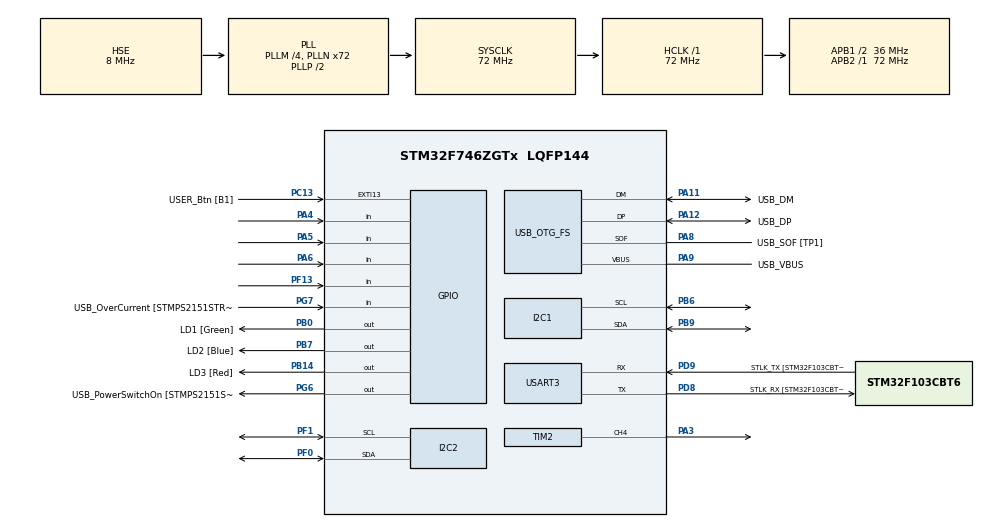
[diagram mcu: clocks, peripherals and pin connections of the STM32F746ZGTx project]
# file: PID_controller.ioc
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I2C1.Timing=0x00808CD2
I2C2.Timing=0x00808CD2
Mcu.Family=STM32F7
Mcu.Name=STM32F746ZGTx
Mcu.Package=LQFP144
NVIC.PriorityGroup=NVIC_PRIORITYGROUP_4
NVIC.TIM3_IRQn=true\:0\:0\:false\:false\:true\:true\:true\:true
NVIC.USART3_IRQn=true\:0\:0\:false\:false\:true\:true\:true\:true
PA1.GPIO_Label=RMII_REF_CLK [LAN8742A-CZ-TR_REFCLK0]
PA1.Signal=ETH_REF_CLK
PA10.GPIO_Label=USB_ID
PA10.Signal=USB_OTG_FS_ID
PA11.GPIO_Label=USB_DM
PA11.Mode=Device_Only
PA11.Signal=USB_OTG_FS_DM
PA12.GPIO_Label=USB_DP
PA12.Mode=Device_Only
PA12.Signal=USB_OTG_FS_DP
PA13.GPIO_Label=TMS
PA13.Mode=Serial_Wire
PA13.Signal=SYS_JTMS-SWDIO
PA14.GPIO_Label=TCK
PA14.Mode=Serial_Wire
PA14.Signal=SYS_JTCK-SWCLK
PA2.GPIO_Label=RMII_MDIO [LAN8742A-CZ-TR_MDIO]
PA2.Signal=ETH_MDIO
PA3.Signal=S_TIM2_CH4
PA4.Signal=GPIO_Input
PA5.Signal=GPIO_Input
PA6.Signal=GPIO_Input
PA7.GPIO_Label=RMII_CRS_DV [LAN8742A-CZ-TR_CRS_DV]
PA7.Signal=ETH_CRS_DV
PA8.GPIO_Label=USB_SOF [TP1]
PA8.Mode=Activate_SOF_FS
PA8.Signal=USB_OTG_FS_SOF
PA9.GPIO_Label=USB_VBUS
PA9.Mode=Activate_VBUS
PA9.Signal=USB_OTG_FS_VBUS
PB0.GPIO_Label=LD1 [Green]
PB0.Signal=GPIO_Output
PB13.GPIO_Label=RMII_TXD1 [LAN8742A-CZ-TR_TXD1]
PB13.Signal=ETH_TXD1
PB14.GPIO_Label=LD3 [Red]
PB14.Signal=GPIO_Output
PB3.GPIO_Label=SW0
PB3.Signal=SYS_JTDO-SWO
PB6.Mode=I2C
PB6.Signal=I2C1_SCL
PB7.GPIO_Label=LD2 [Blue]
PB7.Signal=GPIO_Output
PB9.Mode=I2C
PB9.Signal=I2C1_SDA
PC1.GPIO_Label=RMII_MDC [LAN8742A-CZ-TR_MDC]
PC1.Signal=ETH_MDC
PC13.GPIO_Label=USER_Btn [B1]
PC13.Signal=GPXTI13
PC14/OSC32_IN.Mode=LSE-External-Oscillator
PC14/OSC32_IN.Signal=RCC_OSC32_IN
PC15/OSC32_OUT.Mode=LSE-External-Oscillator
PC15/OSC32_OUT.Signal=RCC_OSC32_OUT
PC4.GPIO_Label=RMII_RXD0 [LAN8742A-CZ-TR_RXD0]
PC4.Signal=ETH_RXD0
PC5.GPIO_Label=RMII_RXD1 [LAN8742A-CZ-TR_RXD1]
PC5.Signal=ETH_RXD1
PD8.GPIO_Label=STLK_RX [STM32F103CBT6_PA3]
PD8.GPIO_PuPd=GPIO_PULLUP
PD8.Mode=Asynchronous
PD8.Signal=USART3_TX
PD9.GPIO_Label=STLK_TX [STM32F103CBT6_PA2]
PD9.GPIO_PuPd=GPIO_PULLUP
PD9.Mode=Asynchronous
PD9.Signal=USART3_RX
PF0.Mode=I2C
PF0.Signal=I2C2_SDA
PF1.Mode=I2C
PF1.Signal=I2C2_SCL
PF13.Signal=GPIO_Input
PG11.GPIO_Label=RMII_TX_EN [LAN8742A-CZ-TR_TXEN]
PG11.Signal=ETH_TX_EN
PG13.GPIO_Label=RMII_TXD0 [LAN8742A-CZ-TR_TXD0]
PG13.Signal=ETH_TXD0
PG6.GPIO_Label=USB_PowerSwitchOn [STMPS2151STR_EN]
PG6.Signal=GPIO_Output
PG7.GPIO_Label=USB_OverCurrent [STMPS2151STR_FAULT]
PG7.Signal=GPIO_Input
PH0/OSC_IN.GPIO_Label=MCO [STM32F103CBT6_PA8]
PH0/OSC_IN.Mode=HSE-External-Clock-Source
PH0/OSC_IN.Signal=RCC_OSC_IN
PH1/OSC_OUT.Mode=HSE-External-Clock-Source
PH1/OSC_OUT.Signal=RCC_OSC_OUT
ProjectManager.HeapSize=0x200
ProjectManager.StackSize=0x400
ProjectManager.TargetToolchain=STM32CubeIDE
RCC.48MHZClocksFreq_Value=24000000
RCC.AHBFreq_Value=72000000
RCC.APB1CLKDivider=RCC_HCLK_DIV2
RCC.APB1Freq_Value=36000000
RCC.APB1TimFreq_Value=72000000
RCC.APB2Freq_Value=72000000
RCC.APB2TimFreq_Value=72000000
RCC.CortexFreq_Value=72000000
RCC.HCLKFreq_Value=72000000
RCC.HSE_VALUE=8000000
RCC.HSI_VALUE=16000000
RCC.PLLM=4
RCC.PLLMUL=RCC_PLL_MUL9
RCC.PLLN=72
RCC.PLLQ=3
RCC.PRESCALERUSB=RCC_USBCLKSOURCE_PLL_DIV1_5
RCC.SYSCLKFreq_VALUE=72000000
RCC.SYSCLKSource=RCC_SYSCLKSOURCE_PLLCLK
RCC.SYSCLKSourceVirtual=RCC_SYSCLKSOURCE_PLLCLK
RCC.USBFreq_Value=48000000
RCC.VCOOutputFreq_Value=144000000
SH.S_TIM2_CH4.0=TIM2_CH4,PWM Generation4 CH4
TIM2.AutoReloadPreload=TIM_AUTORELOAD_PRELOAD_ENABLE
TIM2.Channel-PWM\ Generation4\ CH4=TIM_CHANNEL_4
TIM2.Period=999
TIM2.Prescaler=71
TIM3.Period=20000
TIM3.Prescaler=3600
USART3.VirtualMode-Asynchronous=VM_ASYNC
USB_OTG_FS.VirtualMode=Device_Only
VP_TIM2_VS_ClockSourceINT.Mode=Internal
VP_TIM3_VS_ClockSourceINT.Mode=Internal
board=NUCLEO-F746ZG

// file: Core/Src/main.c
/* USER CODE BEGIN Header */
/**
  ******************************************************************************
  * @file           : main.c
  * @brief          : Main program body
  ******************************************************************************
  * @attention
  *
  * Copyright (c) 2024 STMicroelectronics.
  * All rights reserved.
  *
  * This software is licensed under terms that can be found in the LICENSE file
  * in the root directory of this software component.
  * If no LICENSE file comes with this software, it is provided AS-IS.
  *
  ******************************************************************************
  */
/* USER CODE END Header */
#include "main.h"

/* USER CODE BEGIN Includes */
#include "BMPXX80.h"
#include "i2c-lcd.h"
#include "stdio.h"
#include "string.h"

/* USER CODE END Includes */

/* USER CODE BEGIN PTD */
typedef float float32_t;

typedef struct{
	float32_t Kp;
	float32_t Ki;
	float32_t Kd;
	float32_t dt;
}pid_parameters_t;

typedef struct{
	pid_parameters_t p;
	float32_t prev_error, prev_int;
}pid_t;
/* USER CODE END PTD */

I2C_HandleTypeDef hi2c1;
I2C_HandleTypeDef hi2c2;

TIM_HandleTypeDef htim2;
TIM_HandleTypeDef htim3;

UART_HandleTypeDef huart3;

PCD_HandleTypeDef hpcd_USB_OTG_FS;

/* USER CODE BEGIN PV */
float temperatura_czujnik;
float set_point = 23.0;
char lcd_buffer_temp[16];
char lcd_buffer_set_point[16];
char pomiar[16];
float duty;
int set_point_allow = 0;
int prevState = GPIO_PIN_RESET;
uint8_t Received;

/* USER CODE END PV */

void SystemClock_Config(void);
static void MX_GPIO_Init(void);
static void MX_USART3_UART_Init(void);
static void MX_USB_OTG_FS_PCD_Init(void);
static void MX_I2C1_Init(void);
static void MX_TIM2_Init(void);
static void MX_TIM3_Init(void);
static void MX_I2C2_Init(void);

/* USER CODE BEGIN 0 */
float32_t calc_discrete_pid(pid_t* pid, float32_t setpoint, float32_t measured){
	float32_t u=0, P, I, D, error, integral, derivative;

	error = setpoint - measured;

	P = pid->p.Kp * error;

	integral = pid->prev_int + (error+pid->prev_error);
	pid->prev_int = integral;
	I = pid->p.Ki * integral * (pid->p.dt/2.0);

	derivative = (error - pid->prev_error)/pid->p.dt;
	pid->prev_error = error;
	D = pid->p.Kd * derivative;

	u = P + I + D;

	HAL_GPIO_TogglePin(LD3_GPIO_Port, LD1_Pin);
	return u;
}

void Enkoder_temperatura(){

	int curState = HAL_GPIO_ReadPin(USER_Btn_GPIO_Port, USER_Btn_Pin);
	if (curState == GPIO_PIN_SET && prevState == GPIO_PIN_RESET)
	{
		set_point_allow = !set_point_allow;
	}
	prevState = curState;

	if (set_point_allow == 1){

		  if (HAL_GPIO_ReadPin(GPIOA, GPIO_PIN_5) == GPIO_PIN_RESET)
		  {
			  if (HAL_GPIO_ReadPin(GPIOA, GPIO_PIN_6) == GPIO_PIN_RESET)
			  {
				  while (HAL_GPIO_ReadPin(GPIOA, GPIO_PIN_6) == GPIO_PIN_RESET){};
				  set_point = set_point - 0.1;
				  while (HAL_GPIO_ReadPin(GPIOA, GPIO_PIN_5) == GPIO_PIN_RESET){};
				  HAL_Delay(10);
			  }

			  else if (HAL_GPIO_ReadPin(GPIOA, GPIO_PIN_6) == GPIO_PIN_SET)
			  {
				  while (HAL_GPIO_ReadPin(GPIOA, GPIO_PIN_6) == GPIO_PIN_SET){};
				  set_point = set_point + 0.1;
				  while (HAL_GPIO_ReadPin(GPIOA, GPIO_PIN_5) == GPIO_PIN_RESET){};
				  while (HAL_GPIO_ReadPin(GPIOA, GPIO_PIN_6) == GPIO_PIN_RESET){};
				  HAL_Delay(10);
			  }

			  if(set_point < 22) set_point = 22;
			  if(set_point > 35) set_point = 35;
		  }
	}
}

void LCD_print(){

	sprintf(lcd_buffer_temp, "TempSens: %.2f", temperatura_czujnik);
	sprintf(lcd_buffer_set_point, "TempSet: %.2f", set_point);
	lcd_clear();
	lcd_put_cur(0, 0);
	lcd_send_string(lcd_buffer_temp);
	lcd_put_cur(1, 0);
	lcd_send_string(lcd_buffer_set_point);

}

pid_t pid = {.p.Kp = 0.5, .p.Ki = 0.0005, .p.Kd = 0.0, .p.dt=1.0 , .prev_error = 0, .prev_int = 0};
/* USER CODE END 0 */

int main(void)
{

  /* MCU Configuration--------------------------------------------------------*/

  /* Reset of all peripherals, Initializes the Flash interface and the Systick. */
  HAL_Init();

  /* Configure the system clock */
  SystemClock_Config();

  /* Initialize all configured peripherals */
  MX_GPIO_Init();
  MX_USART3_UART_Init();
  MX_USB_OTG_FS_PCD_Init();
  MX_I2C1_Init();
  MX_TIM2_Init();
  MX_TIM3_Init();
  MX_I2C2_Init();
  /* USER CODE BEGIN 2 */
  BMP280_Init(&hi2c1, BMP280_TEMPERATURE_16BIT, BMP280_STANDARD, BMP280_FORCEDMODE);
  HAL_TIM_PWM_Start(&htim2, TIM_CHANNEL_4);
  HAL_TIM_Base_Start_IT(&htim3);
  HAL_UART_Receive_IT(&huart3, &Received, 2);
  lcd_init();
  /* USER CODE END 2 */

  /* Infinite loop */
  while (1)
  {

    /* USER CODE BEGIN 3 */
	Enkoder_temperatura();

  }
  /* USER CODE END 3 */
}

void SystemClock_Config(void)
{
  RCC_OscInitTypeDef RCC_OscInitStruct = {0};
  RCC_ClkInitTypeDef RCC_ClkInitStruct = {0};

  /** Configure LSE Drive Capability
  */
  HAL_PWR_EnableBkUpAccess();

  /** Configure the main internal regulator output voltage
  */
  __HAL_RCC_PWR_CLK_ENABLE();
  __HAL_PWR_VOLTAGESCALING_CONFIG(PWR_REGULATOR_VOLTAGE_SCALE3);

  /** Initializes the RCC Oscillators according to the specified parameters
  * in the RCC_OscInitTypeDef structure.
  */
  RCC_OscInitStruct.OscillatorType = RCC_OSCILLATORTYPE_HSE;
  RCC_OscInitStruct.HSEState = RCC_HSE_BYPASS;
  RCC_OscInitStruct.PLL.PLLState = RCC_PLL_ON;
  RCC_OscInitStruct.PLL.PLLSource = RCC_PLLSOURCE_HSE;
  RCC_OscInitStruct.PLL.PLLM = 4;
  RCC_OscInitStruct.PLL.PLLN = 72;
  RCC_OscInitStruct.PLL.PLLP = RCC_PLLP_DIV2;
  RCC_OscInitStruct.PLL.PLLQ = 3;
  if (HAL_RCC_OscConfig(&RCC_OscInitStruct) != HAL_OK)
  {
    Error_Handler();
  }

  /** Initializes the CPU, AHB and APB buses clocks
  */
  RCC_ClkInitStruct.ClockType = RCC_CLOCKTYPE_HCLK|RCC_CLOCKTYPE_SYSCLK
                              |RCC_CLOCKTYPE_PCLK1|RCC_CLOCKTYPE_PCLK2;
  RCC_ClkInitStruct.SYSCLKSource = RCC_SYSCLKSOURCE_PLLCLK;
  RCC_ClkInitStruct.AHBCLKDivider = RCC_SYSCLK_DIV1;
  RCC_ClkInitStruct.APB1CLKDivider = RCC_HCLK_DIV2;
  RCC_ClkInitStruct.APB2CLKDivider = RCC_HCLK_DIV1;

  if (HAL_RCC_ClockConfig(&RCC_ClkInitStruct, FLASH_LATENCY_2) != HAL_OK)
  {
    Error_Handler();
  }
}

static void MX_I2C1_Init(void)
{

  hi2c1.Instance = I2C1;
  hi2c1.Init.Timing = 0x00808CD2;
  hi2c1.Init.OwnAddress1 = 0;
  hi2c1.Init.AddressingMode = I2C_ADDRESSINGMODE_7BIT;
  hi2c1.Init.DualAddressMode = I2C_DUALADDRESS_DISABLE;
  hi2c1.Init.OwnAddress2 = 0;
  hi2c1.Init.OwnAddress2Masks = I2C_OA2_NOMASK;
  hi2c1.Init.GeneralCallMode = I2C_GENERALCALL_DISABLE;
  hi2c1.Init.NoStretchMode = I2C_NOSTRETCH_DISABLE;
  if (HAL_I2C_Init(&hi2c1) != HAL_OK)
  {
    Error_Handler();
  }

  /** Configure Analogue filter
  */
  if (HAL_I2CEx_ConfigAnalogFilter(&hi2c1, I2C_ANALOGFILTER_ENABLE) != HAL_OK)
  {
    Error_Handler();
  }

  /** Configure Digital filter
  */
  if (HAL_I2CEx_ConfigDigitalFilter(&hi2c1, 0) != HAL_OK)
  {
    Error_Handler();
  }

}

static void MX_I2C2_Init(void)
{

  hi2c2.Instance = I2C2;
  hi2c2.Init.Timing = 0x00808CD2;
  hi2c2.Init.OwnAddress1 = 0;
  hi2c2.Init.AddressingMode = I2C_ADDRESSINGMODE_7BIT;
  hi2c2.Init.DualAddressMode = I2C_DUALADDRESS_DISABLE;
  hi2c2.Init.OwnAddress2 = 0;
  hi2c2.Init.OwnAddress2Masks = I2C_OA2_NOMASK;
  hi2c2.Init.GeneralCallMode = I2C_GENERALCALL_DISABLE;
  hi2c2.Init.NoStretchMode = I2C_NOSTRETCH_DISABLE;
  if (HAL_I2C_Init(&hi2c2) != HAL_OK)
  {
    Error_Handler();
  }

  /** Configure Analogue filter
  */
  if (HAL_I2CEx_ConfigAnalogFilter(&hi2c2, I2C_ANALOGFILTER_ENABLE) != HAL_OK)
  {
    Error_Handler();
  }

  /** Configure Digital filter
  */
  if (HAL_I2CEx_ConfigDigitalFilter(&hi2c2, 0) != HAL_OK)
  {
    Error_Handler();
  }

}

static void MX_TIM2_Init(void)
{

  TIM_ClockConfigTypeDef sClockSourceConfig = {0};
  TIM_MasterConfigTypeDef sMasterConfig = {0};
  TIM_OC_InitTypeDef sConfigOC = {0};

  htim2.Instance = TIM2;
  htim2.Init.Prescaler = 71;
  htim2.Init.CounterMode = TIM_COUNTERMODE_UP;
  htim2.Init.Period = 999;
  htim2.Init.ClockDivision = TIM_CLOCKDIVISION_DIV1;
  htim2.Init.AutoReloadPreload = TIM_AUTORELOAD_PRELOAD_ENABLE;
  if (HAL_TIM_Base_Init(&htim2) != HAL_OK)
  {
    Error_Handler();
  }
  sClockSourceConfig.ClockSource = TIM_CLOCKSOURCE_INTERNAL;
  if (HAL_TIM_ConfigClockSource(&htim2, &sClockSourceConfig) != HAL_OK)
  {
    Error_Handler();
  }
  if (HAL_TIM_PWM_Init(&htim2) != HAL_OK)
  {
    Error_Handler();
  }
  sMasterConfig.MasterOutputTrigger = TIM_TRGO_RESET;
  sMasterConfig.MasterSlaveMode = TIM_MASTERSLAVEMODE_DISABLE;
  if (HAL_TIMEx_MasterConfigSynchronization(&htim2, &sMasterConfig) != HAL_OK)
  {
    Error_Handler();
  }
  sConfigOC.OCMode = TIM_OCMODE_PWM1;
  sConfigOC.Pulse = 0;
  sConfigOC.OCPolarity = TIM_OCPOLARITY_HIGH;
  sConfigOC.OCFastMode = TIM_OCFAST_DISABLE;
  if (HAL_TIM_PWM_ConfigChannel(&htim2, &sConfigOC, TIM_CHANNEL_4) != HAL_OK)
  {
    Error_Handler();
  }
  HAL_TIM_MspPostInit(&htim2);

}

static void MX_TIM3_Init(void)
{

  TIM_ClockConfigTypeDef sClockSourceConfig = {0};
  TIM_MasterConfigTypeDef sMasterConfig = {0};

  htim3.Instance = TIM3;
  htim3.Init.Prescaler = 3600;
  htim3.Init.CounterMode = TIM_COUNTERMODE_UP;
  htim3.Init.Period = 20000;
  htim3.Init.ClockDivision = TIM_CLOCKDIVISION_DIV1;
  htim3.Init.AutoReloadPreload = TIM_AUTORELOAD_PRELOAD_DISABLE;
  if (HAL_TIM_Base_Init(&htim3) != HAL_OK)
  {
    Error_Handler();
  }
  sClockSourceConfig.ClockSource = TIM_CLOCKSOURCE_INTERNAL;
  if (HAL_TIM_ConfigClockSource(&htim3, &sClockSourceConfig) != HAL_OK)
  {
    Error_Handler();
  }
  sMasterConfig.MasterOutputTrigger = TIM_TRGO_RESET;
  sMasterConfig.MasterSlaveMode = TIM_MASTERSLAVEMODE_DISABLE;
  if (HAL_TIMEx_MasterConfigSynchronization(&htim3, &sMasterConfig) != HAL_OK)
  {
    Error_Handler();
  }

}

static void MX_USART3_UART_Init(void)
{

  huart3.Instance = USART3;
  huart3.Init.BaudRate = 115200;
  huart3.Init.WordLength = UART_WORDLENGTH_8B;
  huart3.Init.StopBits = UART_STOPBITS_1;
  huart3.Init.Parity = UART_PARITY_NONE;
  huart3.Init.Mode = UART_MODE_TX_RX;
  huart3.Init.HwFlowCtl = UART_HWCONTROL_NONE;
  huart3.Init.OverSampling = UART_OVERSAMPLING_16;
  huart3.Init.OneBitSampling = UART_ONE_BIT_SAMPLE_DISABLE;
  huart3.AdvancedInit.AdvFeatureInit = UART_ADVFEATURE_NO_INIT;
  if (HAL_UART_Init(&huart3) != HAL_OK)
  {
    Error_Handler();
  }

}

static void MX_USB_OTG_FS_PCD_Init(void)
{

  hpcd_USB_OTG_FS.Instance = USB_OTG_FS;
  hpcd_USB_OTG_FS.Init.dev_endpoints = 6;
  hpcd_USB_OTG_FS.Init.speed = PCD_SPEED_FULL;
  hpcd_USB_OTG_FS.Init.dma_enable = DISABLE;
  hpcd_USB_OTG_FS.Init.phy_itface = PCD_PHY_EMBEDDED;
  hpcd_USB_OTG_FS.Init.Sof_enable = ENABLE;
  hpcd_USB_OTG_FS.Init.low_power_enable = DISABLE;
  hpcd_USB_OTG_FS.Init.lpm_enable = DISABLE;
  hpcd_USB_OTG_FS.Init.vbus_sensing_enable = ENABLE;
  hpcd_USB_OTG_FS.Init.use_dedicated_ep1 = DISABLE;
  if (HAL_PCD_Init(&hpcd_USB_OTG_FS) != HAL_OK)
  {
    Error_Handler();
  }

}

static void MX_GPIO_Init(void)
{
  GPIO_InitTypeDef GPIO_InitStruct = {0};

  /* GPIO Ports Clock Enable */
  __HAL_RCC_GPIOC_CLK_ENABLE();
  __HAL_RCC_GPIOF_CLK_ENABLE();
  __HAL_RCC_GPIOH_CLK_ENABLE();
  __HAL_RCC_GPIOA_CLK_ENABLE();
  __HAL_RCC_GPIOB_CLK_ENABLE();
  __HAL_RCC_GPIOD_CLK_ENABLE();
  __HAL_RCC_GPIOG_CLK_ENABLE();

  /*Configure GPIO pin Output Level */
  HAL_GPIO_WritePin(GPIOB, LD1_Pin|LD3_Pin|LD2_Pin, GPIO_PIN_RESET);

  /*Configure GPIO pin Output Level */
  HAL_GPIO_WritePin(USB_PowerSwitchOn_GPIO_Port, USB_PowerSwitchOn_Pin, GPIO_PIN_RESET);

  /*Configure GPIO pin : USER_Btn_Pin */
  GPIO_InitStruct.Pin = USER_Btn_Pin;
  GPIO_InitStruct.Mode = GPIO_MODE_IT_RISING;
  GPIO_InitStruct.Pull = GPIO_NOPULL;
  HAL_GPIO_Init(USER_Btn_GPIO_Port, &GPIO_InitStruct);

  /*Configure GPIO pins : RMII_MDC_Pin RMII_RXD0_Pin RMII_RXD1_Pin */
  GPIO_InitStruct.Pin = RMII_MDC_Pin|RMII_RXD0_Pin|RMII_RXD1_Pin;
  GPIO_InitStruct.Mode = GPIO_MODE_AF_PP;
  GPIO_InitStruct.Pull = GPIO_NOPULL;
  GPIO_InitStruct.Speed = GPIO_SPEED_FREQ_VERY_HIGH;
  GPIO_InitStruct.Alternate = GPIO_AF11_ETH;
  HAL_GPIO_Init(GPIOC, &GPIO_InitStruct);

  /*Configure GPIO pins : RMII_REF_CLK_Pin RMII_MDIO_Pin RMII_CRS_DV_Pin */
  GPIO_InitStruct.Pin = RMII_REF_CLK_Pin|RMII_MDIO_Pin|RMII_CRS_DV_Pin;
  GPIO_InitStruct.Mode = GPIO_MODE_AF_PP;
  GPIO_InitStruct.Pull = GPIO_NOPULL;
  GPIO_InitStruct.Speed = GPIO_SPEED_FREQ_VERY_HIGH;
  GPIO_InitStruct.Alternate = GPIO_AF11_ETH;
  HAL_GPIO_Init(GPIOA, &GPIO_InitStruct);

  /*Configure GPIO pins : PA4 PA5 PA6 */
  GPIO_InitStruct.Pin = GPIO_PIN_4|GPIO_PIN_5|GPIO_PIN_6;
  GPIO_InitStruct.Mode = GPIO_MODE_INPUT;
  GPIO_InitStruct.Pull = GPIO_NOPULL;
  HAL_GPIO_Init(GPIOA, &GPIO_InitStruct);

  /*Configure GPIO pins : LD1_Pin LD3_Pin LD2_Pin */
  GPIO_InitStruct.Pin = LD1_Pin|LD3_Pin|LD2_Pin;
  GPIO_InitStruct.Mode = GPIO_MODE_OUTPUT_PP;
  GPIO_InitStruct.Pull = GPIO_NOPULL;
  GPIO_InitStruct.Speed = GPIO_SPEED_FREQ_LOW;
  HAL_GPIO_Init(GPIOB, &GPIO_InitStruct);

  /*Configure GPIO pin : PF13 */
  GPIO_InitStruct.Pin = GPIO_PIN_13;
  GPIO_InitStruct.Mode = GPIO_MODE_INPUT;
  GPIO_InitStruct.Pull = GPIO_NOPULL;
  HAL_GPIO_Init(GPIOF, &GPIO_InitStruct);

  /*Configure GPIO pin : RMII_TXD1_Pin */
  GPIO_InitStruct.Pin = RMII_TXD1_Pin;
  GPIO_InitStruct.Mode = GPIO_MODE_AF_PP;
  GPIO_InitStruct.Pull = GPIO_NOPULL;
  GPIO_InitStruct.Speed = GPIO_SPEED_FREQ_VERY_HIGH;
  GPIO_InitStruct.Alternate = GPIO_AF11_ETH;
  HAL_GPIO_Init(RMII_TXD1_GPIO_Port, &GPIO_InitStruct);

  /*Configure GPIO pin : USB_PowerSwitchOn_Pin */
  GPIO_InitStruct.Pin = USB_PowerSwitchOn_Pin;
  GPIO_InitStruct.Mode = GPIO_MODE_OUTPUT_PP;
  GPIO_InitStruct.Pull = GPIO_NOPULL;
  GPIO_InitStruct.Speed = GPIO_SPEED_FREQ_LOW;
  HAL_GPIO_Init(USB_PowerSwitchOn_GPIO_Port, &GPIO_InitStruct);

  /*Configure GPIO pin : USB_OverCurrent_Pin */
  GPIO_InitStruct.Pin = USB_OverCurrent_Pin;
  GPIO_InitStruct.Mode = GPIO_MODE_INPUT;
  GPIO_InitStruct.Pull = GPIO_NOPULL;
  HAL_GPIO_Init(USB_OverCurrent_GPIO_Port, &GPIO_InitStruct);

  /*Configure GPIO pins : RMII_TX_EN_Pin RMII_TXD0_Pin */
  GPIO_InitStruct.Pin = RMII_TX_EN_Pin|RMII_TXD0_Pin;
  GPIO_InitStruct.Mode = GPIO_MODE_AF_PP;
  GPIO_InitStruct.Pull = GPIO_NOPULL;
  GPIO_InitStruct.Speed = GPIO_SPEED_FREQ_VERY_HIGH;
  GPIO_InitStruct.Alternate = GPIO_AF11_ETH;
  HAL_GPIO_Init(GPIOG, &GPIO_InitStruct);

}

/* USER CODE BEGIN 4 */

//void HAL_UART_RxCpltCallback(UART_HandleTypeDef *huart)
//{
//	set_point = atoi(&Received);
//	HAL_UART_Receive_IT(&huart3, &Received, 4);
//}
void HAL_UART_RxCpltCallback(UART_HandleTypeDef *huart)
{
	set_point = atoi(&Received);
	set_point = round(set_point);
	HAL_UART_Receive_IT(&huart3, &Received, 2);
}

void HAL_TIM_PeriodElapsedCallback(TIM_HandleTypeDef *htim)
{
	HAL_GPIO_TogglePin(LD3_GPIO_Port, LD2_Pin);
	temperatura_czujnik = BMP280_ReadTemperature();

	sprintf(pomiar,"%.2f\n", temperatura_czujnik);
	HAL_UART_Transmit(&huart3, (uint8_t *)pomiar, strlen(pomiar), HAL_MAX_DELAY);

	LCD_print();

	float pwm_duty_f = (999.0*calc_discrete_pid(&pid, set_point, temperatura_czujnik));
	uint16_t pwm_duty = 0;
	if(pwm_duty_f < 0) pwm_duty = 0; else
	if(pwm_duty_f > 999.0) pwm_duty = 999; else
		pwm_duty = (uint16_t)pwm_duty_f;

	duty = (float)pwm_duty;
	__HAL_TIM_SET_COMPARE(&htim2, TIM_CHANNEL_4, pwm_duty);

}
/* USER CODE END 4 */

void Error_Handler(void)
{
  __disable_irq();
  while (1)
  {
  }
}
